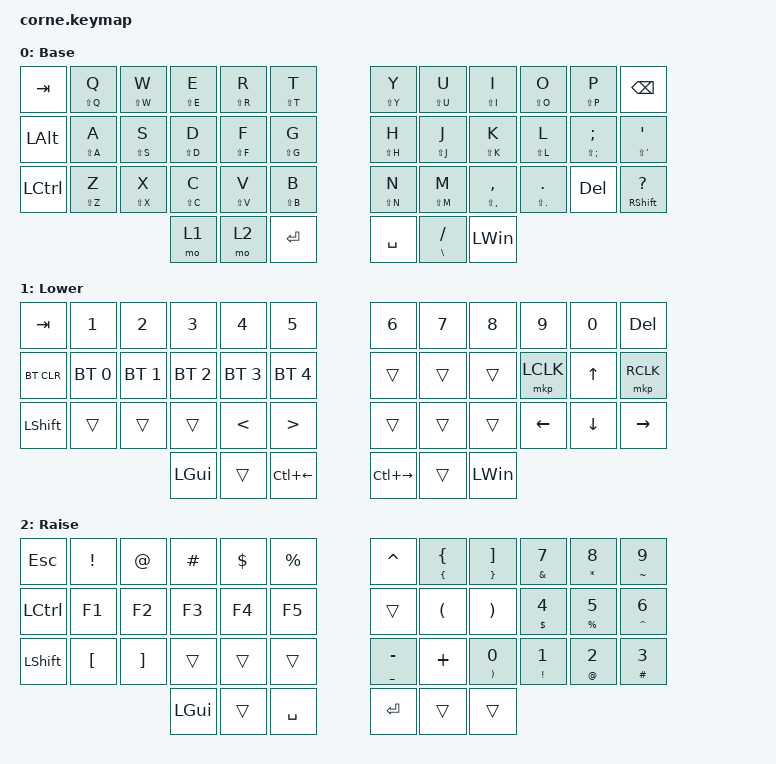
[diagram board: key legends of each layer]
/*
 * Copyright (c) 2020 The ZMK Contributors
 *
 * SPDX-License-Identifier: MIT
 */

#include <behaviors.dtsi>
#include <dt-bindings/zmk/bt.h>
#include <dt-bindings/zmk/keys.h>
#include <dt-bindings/zmk/pointing.h>

/ {
    combos {
        compatible = "zmk,combos";

        under- {
            bindings = <&mt UNDER KP_MINUS>;
            key-positions = <1 0>;
        };

        bk-slash {
            bindings = <&kp BACKSLASH>;
            key-positions = <1 2>;
        };

        Find {
            bindings = <&kp LC(F)>;
            key-positions = <18 19>;
        };

        Ctl-Ret {
            bindings = <&kp LC(RET)>;
            key-positions = <16 17>;
        };

        Semi-c {
            bindings = <&kp SEMICOLON>;
            key-positions = <23 22>;
        };

        Ctl-back {
            bindings = <&kp LC(BACKSPACE)>;
            key-positions = <10 11>;
        };

        Paste {
            bindings = <&kp LC(V)>;
            key-positions = <30 31>;
        };

        Copy {
            bindings = <&kp LC(C)>;
            key-positions = <28 29>;
        };

        left {
            bindings = <&kp LC(LEFT)>;
            key-positions = <33 34>;
        };

        right {
            bindings = <&kp LC(RIGHT)>;
            key-positions = <35 34>;
        };

        delword {
            bindings = <&kp LC(DELETE)>;
            key-positions = <34 35>;
        };
    };

    behaviors {
        hc: hc {
            compatible = "zmk,behavior-hold-tap";
            label = "HC";
            bindings = <&kp &kp>;
            #binding-cells = <2>;
            tapping-term-ms = <200>;
            flavor = "tap-preferred";
        };
    };

    keymap {
        compatible = "zmk,keymap";

        default_layer {
            display-name = "Base";
            bindings = <
&kp TAB           &hc LS(Q) Q  &hc LS(W) W  &hc LS(E) E  &hc LS(R) R  &hc LS(T) T    &hc LS(Y) Y  &hc LS(U) U          &hc LS(I) I          &hc LS(O) O      &hc LS(P) P        &kp BSPC
&kp LEFT_ALT      &hc LS(A) A  &hc LS(S) S  &hc LS(D) D  &hc LS(F) F  &hc LS(G) G    &hc LS(H) H  &hc LS(J) J          &hc LS(K) K          &hc LS(L) L      &hc LS(SEMI) SEMI  &hc LS(SQT) SQT
&kp LEFT_CONTROL  &hc LS(Z) Z  &hc LS(X) X  &hc LS(C) C  &hc LS(V) V  &hc LS(B) B    &hc LS(N) N  &hc LS(M) M          &hc LS(COMMA) COMMA  &hc LS(DOT) DOT  &kp DELETE         &mt RSHIFT QUESTION
                                            &mo 1        &mo 2        &kp RET        &kp SPACE    &hc BACKSLASH SLASH  &kp LEFT_WIN
            >;
        };

        lower_layer {
            display-name = "Lower";
            bindings = <
&kp TAB     &kp N1        &kp N2        &kp N3        &kp N4         &kp N5              &kp N6         &kp N7  &kp N8        &kp N9     &kp N0    &kp DELETE
&bt BT_CLR  &bt BT_SEL 0  &bt BT_SEL 1  &bt BT_SEL 2  &bt BT_SEL 3   &bt BT_SEL 4        &trans         &trans  &trans        &mkp LCLK  &kp UP    &mkp RCLK
&kp LSHFT   &trans        &trans        &trans        &kp LESS_THAN  &kp GREATER_THAN    &trans         &trans  &trans        &kp LEFT   &kp DOWN  &kp RIGHT
                                        &kp LGUI      &trans         &kp LC(LEFT)        &kp LC(RIGHT)  &trans  &kp LEFT_WIN
            >;
        };

        raise_layer {
            display-name = "Raise";
            bindings = <
&kp ESCAPE  &kp EXCL          &kp AT             &kp HASH  &kp DLLR  &kp PRCNT    &kp CARET        &hc LEFT_BRACE LEFT_BRACE  &hc RIGHT_BRACE RIGHT_BRACKET  &hc AMPS N7               &hc ASTRK N8          &hc TILDE N9
&kp LCTRL   &kp F1            &kp F2             &kp F3    &kp F4    &kp F5       &trans           &kp LEFT_PARENTHESIS       &kp RIGHT_PARENTHESIS          &hc DOLLAR NUMBER_4       &hc PERCENT N5        &hc CARET NUMBER_6
&kp LSHFT   &kp LEFT_BRACKET  &kp RIGHT_BRACKET  &trans    &trans    &trans       &hc UNDER MINUS  &kp PLUS                   &hc RIGHT_PARENTHESIS N0       &hc EXCLAMATION NUMBER_1  &hc AT_SIGN NUMBER_2  &hc HASH NUMBER_3
                                                 &kp LGUI  &trans    &kp SPACE    &kp RET          &trans                     &trans
            >;
        };
    };
};
